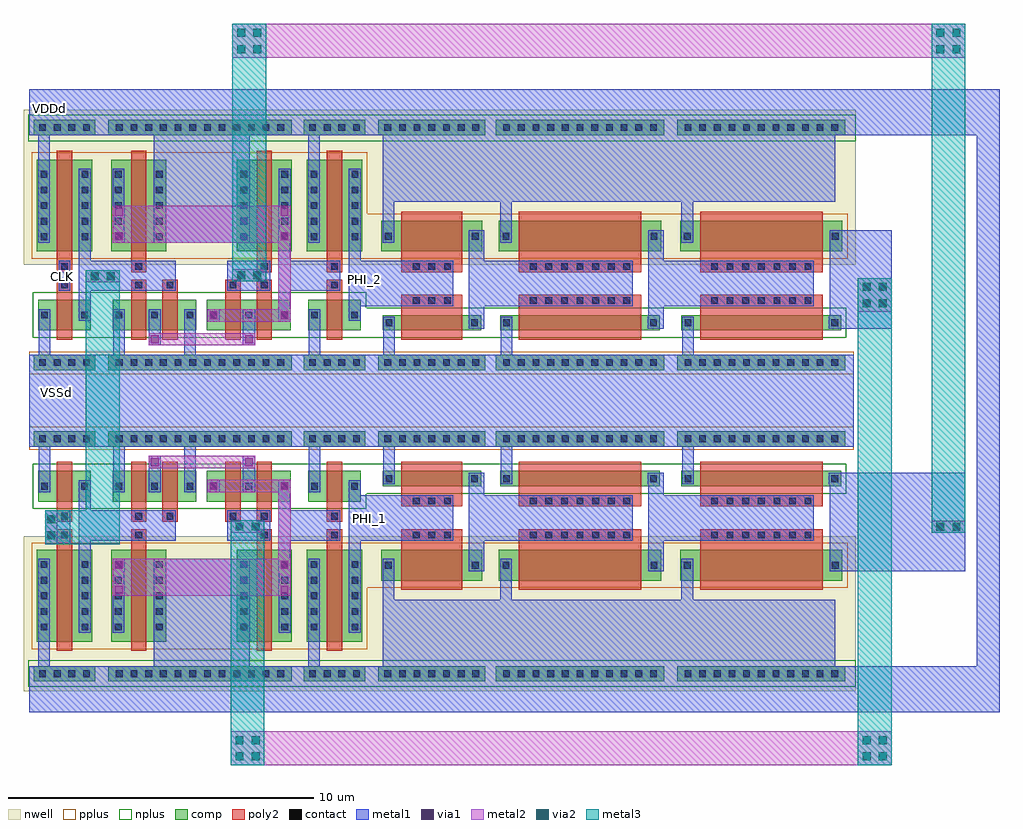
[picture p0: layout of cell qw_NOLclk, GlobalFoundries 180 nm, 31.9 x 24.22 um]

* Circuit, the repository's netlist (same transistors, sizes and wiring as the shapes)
** sch_path: /foss/designs/libs/core_analog/qw_NOLclk/qw_NOLclk.sch
.subckt qw_NOLclk PHI_2 CLK VDDd PHI_1 VSSd
*.PININFO CLK:I PHI_2:O VDDd:B VSSd:B PHI_1:O
* noconn VDDd
* noconn VSSd
x4 VDDd PHI_2 net1 VSSd SmallW_Linv
x7 VDDd PHI_1 net2 VSSd SmallW_Linv
x12 VDDd net3 OUT_top_d VSSd SmallW_Linv_2
x14 VDDd net4 OUT_bot_d VSSd SmallW_Linv_2
x5 VDDd net1 net3 VSSd SmallW_Linv_2
x8 VDDd net2 net4 VSSd SmallW_Linv_2
x9 CLK VDDd CLKB VSSd inv1u05u
x2 CLKB VDDd CLKbuf VSSd inv1u05u
x10 VDDd OUT_top OUT_bot_d CLKB VSSd asc_NAND
x1 VDDd OUT_bot OUT_top_d CLKbuf VSSd asc_NAND
x3 OUT_top VDDd PHI_2 VSSd inv1u05u
x6 OUT_bot VDDd PHI_1 VSSd inv1u05u
.ends

* expanding   symbol:  libs/qw_core_analog/SmallW_Linv/SmallW_Linv.sym # of pins=4
** sym_path: /foss/designs/libs/qw_core_analog/SmallW_Linv/SmallW_Linv.sym
** sch_path: /foss/designs/libs/qw_core_analog/SmallW_Linv/SmallW_Linv.sch
.subckt SmallW_Linv vdd in out vss
*.PININFO in:B out:B vdd:B vss:B
M1 out in vss vss nfet_03v3 L=2u W=0.5u nf=1 m=1
M2 out in vdd vdd pfet_03v3 L=2u W=1u nf=1 m=1
.ends


* expanding   symbol:  libs/qw_core_analog/SmallW_Linv_2/SmallW_Linv_2.sym # of pins=4
** sym_path: /foss/designs/libs/qw_core_analog/SmallW_Linv_2/SmallW_Linv_2.sym
** sch_path: /foss/designs/libs/qw_core_analog/SmallW_Linv_2/SmallW_Linv_2.sch
.subckt SmallW_Linv_2 vdd in out vss
*.PININFO in:B out:B vdd:B vss:B
M1 out in vss vss nfet_03v3 L=4u W=0.5u nf=1 m=1
M2 out in vdd vdd pfet_03v3 L=4u W=1u nf=1 m=1
.ends


* expanding   symbol:  libs/core_analog/inv1u05u/inv1u05u.sym # of pins=4
** sym_path: /foss/designs/libs/core_analog/inv1u05u/inv1u05u.sym
** sch_path: /foss/designs/libs/core_analog/inv1u05u/inv1u05u.sch
.subckt inv1u05u in vdd out vss
*.PININFO in:B out:B vss:B vdd:B
M1 out in vdd vdd pfet_03v3 L=0.5u W=3.0u nf=1 m=1
M2 out in vss vss nfet_03v3 L=0.5u W=1.0u nf=1 m=1
.ends


* expanding   symbol:  libs/core_analog/asc_NAND/asc_NAND.sym # of pins=5
** sym_path: /foss/designs/libs/core_analog/asc_NAND/asc_NAND.sym
** sch_path: /foss/designs/libs/core_analog/asc_NAND/asc_NAND.sch
.subckt asc_NAND VDD OUT A B VSS
*.PININFO VDD:B VSS:B B:B A:B OUT:B
M1 OUT A net1 VSS nfet_03v3 L=0.5u W=2u nf=2 m=1
M2 OUT A VDD VDD pfet_03v3 L=0.5u W=3u nf=1 m=1
M3 net1 B VSS VSS nfet_03v3 L=0.5u W=2u nf=2 m=1
M4 OUT B VDD VDD pfet_03v3 L=0.5u W=3u nf=1 m=1
.ends

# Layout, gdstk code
from math import pi, radians
import gdstk
lib = gdstk.Library(unit=1e-6, precision=5e-09)
def R(c, l, rs):  # rectangles x0, y0, x1, y1
    for r in rs: c.add(gdstk.rectangle(r[:2], r[2:], *l))
def A(c, l, x, y, w, h, nx, ny, dx, dy):  # array of equal rectangles
    R(c, l, [(x+i*dx, y+j*dy, x+i*dx+w, y+j*dy+h) for i in range(nx) for j in range(ny)])
nwell = (21, 0)
comp = (22, 0)
poly2 = (30, 0)
pplus = (31, 0)
nplus = (32, 0)
contact = (33, 0)
metal1 = (34, 0)
via1 = (35, 0)
metal2 = (36, 0)
via2 = (38, 0)
metal3 = (42, 0)

via_dev_2 = lib.new_cell('via_dev$2')
R(via_dev_2, metal1, [(0,0,0.4,0.4)])
R(via_dev_2, via1, [(0.07,0.07,0.33,0.33)])
R(via_dev_2, metal2, [(0,0,0.4,0.4)])

via_dev = lib.new_cell('via_dev')
R(via_dev, comp, [(0,0,2,0.5)])
A(via_dev, contact, 0.17, 0.14, 0.22, 0.22, 4, 1, 0.48, 0)
R(via_dev, metal1, [(0,0,2,0.5)])

via_dev_6 = lib.new_cell('via_dev$6')
R(via_dev_6, comp, [(0,0,3.5,0.5)])
A(via_dev_6, contact, 0.2, 0.14, 0.22, 0.22, 7, 1, 0.48, 0)
R(via_dev_6, metal1, [(0,0,3.5,0.5)])

nfet_3 = lib.new_cell('nfet$3')
R(nfet_3, comp, [(-0.42,0,0,0.5), (0,0,2.38,0.5), (2.38,0,2.8,0.5)])
R(nfet_3, poly2, [(0.19,-0.3,2.19,0.8), (0.19,0.8,2.19,1.16)])
R(nfet_3, nplus, [(-0.59,-0.24,2.97,0.74)])
A(nfet_3, contact, 0.57, 0.87, 0.22, 0.22, 3, 1, 0.51, 0)
R(nfet_3, contact, [(-0.32,0.14,-0.1,0.36), (2.48,0.14,2.7,0.36)])
R(nfet_3, metal1, [(-0.4,0.06,-0.02,0.44), (2.4,0.06,2.78,0.44), (0.49,0.79,1.89,1.17)])

via_dev_11 = lib.new_cell('via_dev$11')
R(via_dev_11, metal1, [(0,0,1.1,0.4)])
R(via_dev_11, via1, [(0.155,0.07,0.415,0.33), (0.685,0.07,0.945,0.33)])
R(via_dev_11, metal2, [(0,0,1.1,0.4)])
R(via_dev_11, via2, [(0.155,0.07,0.415,0.33), (0.685,0.07,0.945,0.33)])
R(via_dev_11, metal3, [(0,0,1.1,0.4)])

pfet_3 = lib.new_cell('pfet$3')
R(pfet_3, nwell, [(-0.9,-0.44,3.28,1.44)])
R(pfet_3, comp, [(-0.46,0,0,1), (0,0,2.38,1), (2.38,0,2.84,1)])
R(pfet_3, poly2, [(0.19,-0.68,2.19,-0.3), (0.19,-0.3,2.19,1.3)])
R(pfet_3, pplus, [(-0.63,-0.24,3.01,1.24)])
A(pfet_3, contact, 0.57, -0.6, 0.22, 0.22, 3, 1, 0.51, 0)
R(pfet_3, contact, [(-0.34,0.39,-0.12,0.61), (2.5,0.39,2.72,0.61)])
R(pfet_3, metal1, [(0.49,-0.68,1.89,-0.3), (-0.42,0.31,-0.04,0.69), (2.42,0.31,2.8,0.69)])

pfet_2 = lib.new_cell('pfet$2')
R(pfet_2, nwell, [(-0.9,-0.44,5.28,1.44)])
R(pfet_2, comp, [(-0.46,0,0,1), (0,0,4.38,1), (4.38,0,4.84,1)])
R(pfet_2, poly2, [(0.19,-0.68,4.19,-0.3), (0.19,-0.3,4.19,1.3)])
R(pfet_2, pplus, [(-0.63,-0.24,5.01,1.24)])
A(pfet_2, contact, 0.55, -0.6, 0.22, 0.22, 7, 1, 0.51, 0)
R(pfet_2, contact, [(-0.34,0.39,-0.12,0.61), (4.5,0.39,4.72,0.61)])
R(pfet_2, metal1, [(0.47,-0.68,3.91,-0.3), (-0.42,0.31,-0.04,0.69), (4.42,0.31,4.8,0.69)])

nfet_2 = lib.new_cell('nfet$2')
R(nfet_2, comp, [(-0.42,0,0,0.5), (0,0,4.38,0.5), (4.38,0,4.8,0.5)])
R(nfet_2, poly2, [(0.19,-0.3,4.19,0.8), (0.19,0.8,4.19,1.16)])
R(nfet_2, nplus, [(-0.59,-0.24,4.97,0.74)])
A(nfet_2, contact, 0.55, 0.87, 0.22, 0.22, 7, 1, 0.51, 0)
R(nfet_2, contact, [(-0.32,0.14,-0.1,0.36), (4.48,0.14,4.7,0.36)])
R(nfet_2, metal1, [(-0.4,0.06,-0.02,0.44), (4.4,0.06,4.78,0.44), (0.47,0.79,3.91,1.17)])

via_dev_8 = lib.new_cell('via_dev$8')
R(via_dev_8, comp, [(0,0,5.5,0.5)])
A(via_dev_8, contact, 0.24, 0.14, 0.22, 0.22, 11, 1, 0.48, 0)
R(via_dev_8, metal1, [(0,0,5.5,0.5)])

nfet = lib.new_cell('nfet')
R(nfet, comp, [(-0.42,0,0,1), (0,0,0.88,1), (0.88,0,1.3,1)])
R(nfet, poly2, [(0.19,-0.3,0.69,1.3), (0.19,1.3,0.69,1.66)])
R(nfet, nplus, [(-0.59,-0.24,1.47,1.24)])
R(nfet, contact, [(-0.32,0.39,-0.1,0.61), (0.98,0.39,1.2,0.61), (0.33,1.37,0.55,1.59)])
R(nfet, metal1, [(-0.4,0.31,-0.02,0.69), (0.9,0.31,1.28,0.69), (0.25,1.29,0.63,1.67)])

pfet = lib.new_cell('pfet')
R(pfet, nwell, [(-0.9,-0.44,1.78,3.44)])
R(pfet, comp, [(-0.46,0,0,3), (0,0,0.88,3), (0.88,0,1.34,3)])
R(pfet, poly2, [(0.19,-0.68,0.69,-0.3), (0.19,-0.3,0.69,3.3)])
R(pfet, pplus, [(-0.63,-0.24,1.51,3.24)])
A(pfet, contact, -0.34, 0.37, 0.22, 0.22, 1, 5, 0, 0.51)
A(pfet, contact, 1, 0.37, 0.22, 0.22, 1, 5, 0, 0.51)
R(pfet, contact, [(0.33,-0.6,0.55,-0.38)])
R(pfet, metal1, [(0.25,-0.68,0.63,-0.3), (-0.42,0.29,-0.04,2.71), (0.92,0.29,1.3,2.71)])

via_dev_3 = lib.new_cell('via_dev$3')
R(via_dev_3, comp, [(0,0,6,0.5)])
A(via_dev_3, contact, 0.25, 0.14, 0.22, 0.22, 12, 1, 0.48, 0)
R(via_dev_3, metal1, [(0,0,6,0.5)])

pfet_1 = lib.new_cell('pfet$1')
R(pfet_1, nwell, [(-0.9,-0.44,1.78,3.44)])
R(pfet_1, comp, [(-0.46,0,0,3), (0,0,0.88,3), (0.88,0,1.34,3)])
R(pfet_1, poly2, [(0.19,-0.68,0.69,-0.3), (0.19,-0.3,0.69,3.3)])
R(pfet_1, pplus, [(-0.63,-0.24,1.51,3.24)])
A(pfet_1, contact, -0.34, 0.37, 0.22, 0.22, 1, 5, 0, 0.51)
A(pfet_1, contact, 1, 0.37, 0.22, 0.22, 1, 5, 0, 0.51)
R(pfet_1, contact, [(0.33,-0.6,0.55,-0.38)])
R(pfet_1, metal1, [(0.25,-0.68,0.63,-0.3), (-0.42,0.29,-0.04,2.71), (0.92,0.29,1.3,2.71)])

nfet_1 = lib.new_cell('nfet$1')
R(nfet_1, comp, [(-0.42,0,0,1), (0,0,1.9,1), (1.9,0,2.32,1)])
R(nfet_1, poly2, [(0.19,-0.3,0.69,1.3), (1.21,-0.3,1.71,1.3), (0.19,1.3,0.69,1.66), (1.21,1.3,1.71,1.66)])
R(nfet_1, nplus, [(-0.59,-0.24,2.49,1.24)])
A(nfet_1, contact, -0.32, 0.39, 0.22, 0.22, 3, 1, 1.16, 0)
R(nfet_1, contact, [(0.33,1.37,0.55,1.59), (1.35,1.37,1.57,1.59)])
A(nfet_1, metal1, -0.4, 0.31, 0.38, 0.38, 3, 1, 1.16, 0)
R(nfet_1, metal1, [(0.25,1.29,0.63,1.67), (1.27,1.29,1.65,1.67)])

via_dev_9 = lib.new_cell('via_dev$9')
R(via_dev_9, metal1, [(0,0,1.1,1.1)])
R(via_dev_9, via1, [(0.155,0.155,0.415,0.415), (0.685,0.155,0.945,0.415), (0.155,0.685,0.415,0.945), (0.685,0.685,0.945,0.945)])
R(via_dev_9, metal2, [(0,0,1.1,1.1)])
R(via_dev_9, via2, [(0.155,0.155,0.415,0.415), (0.685,0.155,0.945,0.415), (0.155,0.685,0.415,0.945), (0.685,0.685,0.945,0.945)])
R(via_dev_9, metal3, [(0,0,1.1,1.1)])

via_dev_10 = lib.new_cell('via_dev$10')
R(via_dev_10, metal2, [(0,0,1.1,1.1)])
R(via_dev_10, via2, [(0.155,0.155,0.415,0.415), (0.685,0.155,0.945,0.415), (0.155,0.685,0.415,0.945), (0.685,0.685,0.945,0.945)])
R(via_dev_10, metal3, [(0,0,1.1,1.1)])

qw_nolclk = lib.new_cell('qw_NOLclk')
R(qw_nolclk, nwell, [(55.095,-2.77,57.775,-1.585), (57.525,-2.77,64.305,-1.585), (63.92,-2.77,66.6,-1.585), (66.35,-2.77,70.585,-1.585), (70.195,-2.77,76.375,-1.585), (76.12,-2.77,82.3,-1.585), (60.205,-1.585,61.625,2.295), (66.35,-1.585,70.585,0.415), (70.195,-1.585,76.375,0.415), (76.12,-1.585,82.3,0.415), (60.205,11.17,61.625,15.05), (66.35,13.05,70.585,15.05), (70.195,13.05,76.375,15.05), (76.12,13.05,82.3,15.05), (55.095,15.05,57.775,16.235), (57.525,15.05,64.305,16.235), (63.92,15.05,66.6,16.235), (66.35,15.05,70.585,16.235), (70.195,15.05,76.375,16.235), (76.12,15.05,82.3,16.235)])
R(qw_nolclk, pplus, [(57.505,-1.385,57.795,2.095), (59.935,-1.385,61.895,2.095), (64.035,-1.385,64.19,2.095), (66.33,0.615,66.62,2.095), (70.26,0.615,70.465,2.095), (76.105,0.615,76.39,2.095), (55.285,5.125,57.72,5.875), (64.11,5.125,66.545,5.875), (66.54,5.125,70.385,5.875), (70.385,5.125,76.31,5.875), (76.31,5.125,82.235,5.875), (55.285,7.59,57.72,8.34), (64.11,7.59,66.545,8.34), (66.54,7.59,70.385,8.34), (70.385,7.59,76.31,8.34), (76.31,7.59,82.235,8.34), (57.505,11.37,57.795,14.85), (59.935,11.37,61.895,14.85), (64.035,11.37,64.19,14.85), (66.33,11.37,66.62,12.85), (70.26,11.37,70.465,12.85), (76.105,11.37,76.39,12.85)])
R(qw_nolclk, nplus, [(55.25,-2.61,57.635,-1.745), (57.635,-2.61,57.68,-1.745), (57.68,-2.61,64.15,-1.745), (64.075,-2.61,66.46,-1.745), (66.46,-2.61,66.505,-1.745), (66.505,-2.61,70.585,-1.745), (70.35,-2.61,76.375,-1.745), (76.275,-2.61,82.3,-1.745), (57.465,3.195,57.835,4.675), (63.995,3.195,64.23,4.675), (66.29,3.695,66.66,4.675), (70.22,3.695,70.505,4.675), (76.065,3.695,76.43,4.675), (57.465,8.79,57.835,10.27), (63.995,8.79,64.23,10.27), (66.29,8.79,66.66,9.77), (70.22,8.79,70.505,9.77), (76.065,8.79,76.43,9.77), (55.25,15.21,57.635,16.075), (57.635,15.21,57.68,16.075), (57.68,15.21,64.15,16.075), (64.075,15.21,66.46,16.075), (66.46,15.21,66.505,16.075), (66.505,15.21,70.585,16.075), (70.35,15.21,76.375,16.075), (76.275,15.21,82.3,16.075)])
R(qw_nolclk, metal1, [(55.285,-3.445,57.635,-1.945), (57.635,-3.445,57.715,-1.945), (57.715,-3.445,64.055,-1.945), (64.055,-3.445,64.11,-1.945), (64.11,-3.445,66.46,-1.945), (66.46,-3.445,66.505,-1.945), (66.505,-3.445,70.585,-1.945), (70.35,-3.445,76.375,-1.945), (76.275,-3.445,86.575,-1.945), (86.25,-3.445,86.995,16.91), (55.285,-2.445,55.435,-1.945), (55.575,-2.445,55.955,1.565), (57.715,-2.445,57.865,-1.945), (63.865,-2.445,64.055,-1.945), (64.11,-2.445,64.26,-1.945), (64.4,-2.445,64.78,1.565), (66.54,-2.445,66.69,-1.945), (66.83,-2.445,67.21,1.565), (70.385,-2.445,70.535,-1.945), (70.675,-2.445,71.055,1.565), (76.31,-2.445,76.46,-1.945), (76.6,-2.445,76.98,1.565), (59.345,-1.945,62.485,1.565), (67.21,-1.945,70.675,0.225), (71.055,-1.945,76.6,0.225), (76.98,-1.945,81.625,0.225), (56.895,-0.855,57.295,4.125), (65.72,-0.855,66.12,4.125), (69.65,1.165,70.15,4.375), (75.515,1.165,76.015,4.375), (81.44,1.165,85.875,4.375), (63.425,1.565,63.82,3.745), (55.805,2.045,56.625,3.145), (56.245,2.155,56.625,3.145), (56.895,2.155,60.075,3.145), (58.675,2.155,59.055,3.145), (61.755,2.155,62.775,2.765), (62.775,2.155,63.155,3.145), (63.425,2.155,65.45,3.145), (65.07,2.155,65.45,3.145), (65.72,2.155,69.14,3.645), (69.65,2.155,75.005,3.645), (75.515,2.155,80.93,3.645), (58.675,2.765,60.075,3.145), (61.755,2.765,63.155,3.145), (55.595,3.745,55.975,5.735), (58.025,3.745,58.405,5.735), (59.185,3.745,59.585,4.925), (60.345,3.745,60.725,5.735), (62.265,3.745,62.665,4.925), (64.42,3.745,64.8,5.735), (66.85,3.995,67.23,5.735), (70.695,3.995,71.075,5.735), (76.62,3.995,77,5.735), (55.285,5.235,57.715,6.735), (55.285,5.235,55.435,5.735), (57.715,5.235,64.11,6.735), (57.715,5.235,57.865,5.735), (63.865,5.235,64.11,5.735), (64.11,5.235,66.54,6.735), (64.11,5.235,64.26,5.735), (66.54,5.235,70.385,6.735), (66.54,5.235,66.69,5.735), (70.385,5.235,76.31,6.735), (70.385,5.235,70.535,5.735), (76.31,5.235,82.235,6.735), (76.31,5.235,76.46,5.735), (55.285,6.73,57.715,8.23), (57.715,6.73,64.11,8.23), (64.11,6.73,66.54,8.23), (66.54,6.73,70.385,8.23), (70.385,6.73,76.31,8.23), (76.31,6.73,82.235,8.23), (55.285,7.73,55.435,8.23), (55.595,7.73,55.975,9.72), (57.715,7.73,57.865,8.23), (58.025,7.73,58.405,9.72), (60.345,7.73,60.725,9.72), (63.865,7.73,64.11,8.23), (64.11,7.73,64.26,8.23), (64.42,7.73,64.8,9.72), (66.54,7.73,66.69,8.23), (66.85,7.73,67.23,9.47), (70.385,7.73,70.535,8.23), (70.695,7.73,71.075,9.47), (76.31,7.73,76.46,8.23), (76.62,7.73,77,9.47), (59.185,8.54,59.585,9.72), (62.265,8.54,62.665,9.72), (69.65,9.09,70.15,12.3), (75.515,9.09,76.015,12.3), (81.44,9.09,83.47,12.3), (56.895,9.34,57.295,14.32), (65.72,9.34,66.12,14.32), (63.425,9.72,63.82,11.9), (65.72,9.82,69.14,11.31), (69.65,9.82,75.005,11.31), (75.515,9.82,80.93,11.31), (56.245,10.32,56.625,11.31), (56.895,10.32,60.075,11.31), (58.675,10.32,59.055,11.31), (58.675,10.32,60.075,10.7), (61.755,10.32,63.155,10.7), (62.775,10.32,63.155,11.31), (63.425,10.32,65.45,11.31), (65.07,10.32,65.45,11.31), (61.755,10.7,62.775,11.31), (55.575,11.9,55.955,15.91), (59.345,11.9,62.485,15.41), (64.4,11.9,64.78,15.91), (66.83,11.9,67.21,15.91), (70.675,11.9,71.055,15.91), (76.6,11.9,76.98,15.91), (67.21,13.24,70.675,15.41), (71.055,13.24,76.6,15.41), (76.98,13.24,81.625,15.41), (55.285,15.41,55.435,15.91), (55.285,15.41,57.635,16.91), (57.635,15.41,57.715,16.91), (57.715,15.41,57.865,15.91), (57.715,15.41,64.055,16.91), (63.865,15.41,64.055,15.91), (64.055,15.41,64.11,16.91), (64.11,15.41,64.26,15.91), (64.11,15.41,66.46,16.91), (66.46,15.41,66.505,16.91), (66.505,15.41,70.585,16.91), (66.54,15.41,66.69,15.91), (70.35,15.41,76.375,16.91), (70.385,15.41,70.535,15.91), (76.275,15.41,86.575,16.91), (76.31,15.41,76.46,15.91)])
R(qw_nolclk, metal2, [(61.87,-5.175,83.47,-4.075), (58.005,0.355,58.405,1.565), (58.005,0.355,63.825,1.565), (63.425,0.355,63.825,4.145), (61.105,3.745,63.825,4.145), (59.185,4.525,62.665,4.925), (59.185,8.54,62.665,8.94), (61.105,9.32,63.825,9.72), (63.425,9.32,63.825,13.11), (58.005,11.9,58.405,13.11), (58.005,11.9,63.825,13.11), (61.925,17.94,85.875,19.045)])
R(qw_nolclk, metal3, [(61.87,-5.175,62.97,2.82), (82.37,-5.175,83.47,10.735), (55.805,2.045,58.235,3.145), (57.135,2.045,58.235,11), (84.775,2.41,85.875,19.045), (61.925,10.635,63.025,19.045)])
qw_nolclk.add(gdstk.FlexPath([(57.715,7.965),(64.11,7.965)], 0.75, ends="flush", simple_path=True, layer=31, datatype=0))  # pplus
qw_nolclk.add(gdstk.FlexPath([(57.715,5.5),(64.11,5.5)], 0.75, ends="flush", simple_path=True, layer=31, datatype=0))  # pplus
qw_nolclk.add(gdstk.Reference(via_dev_2, (58.005,12.71)))
qw_nolclk.add(gdstk.Reference(via_dev, (64.26,15.41)))
qw_nolclk.add(gdstk.Reference(via_dev_6, (66.69,15.41)))
qw_nolclk.add(gdstk.Reference(via_dev, (55.435,-1.945), x_reflection=True))
qw_nolclk.add(gdstk.Reference(via_dev_6, (66.69,7.73)))
qw_nolclk.add(gdstk.Reference(nfet_3, (67.25,9.03)))
qw_nolclk.add(gdstk.Reference(via_dev_11, (55.805,2.045), rotation=pi/2, x_reflection=True))
qw_nolclk.add(gdstk.Reference(pfet_3, (67.25,11.61)))
qw_nolclk.add(gdstk.Reference(pfet_2, (71.095,11.61)))
qw_nolclk.add(gdstk.Reference(via_dev_11, (58.235,10.6), rotation=pi, x_reflection=True))
qw_nolclk.add(gdstk.Reference(nfet_2, (71.095,9.03)))
qw_nolclk.add(gdstk.Reference(via_dev_8, (70.535,7.73)))
qw_nolclk.add(gdstk.Reference(via_dev_8, (70.535,15.41)))
qw_nolclk.add(gdstk.Reference(pfet_2, (77.02,11.61)))
qw_nolclk.add(gdstk.Reference(nfet_2, (77.02,9.03)))
qw_nolclk.add(gdstk.Reference(via_dev_8, (76.46,7.73)))
qw_nolclk.add(gdstk.Reference(via_dev_8, (76.46,15.41)))
qw_nolclk.add(gdstk.Reference(via_dev_2, (58.005,0.755), x_reflection=True))
qw_nolclk.add(gdstk.Reference(via_dev, (64.26,-1.945), x_reflection=True))
qw_nolclk.add(gdstk.Reference(via_dev_6, (66.69,-1.945), x_reflection=True))
qw_nolclk.add(gdstk.Reference(via_dev_6, (66.69,5.735), x_reflection=True))
qw_nolclk.add(gdstk.Reference(nfet_3, (67.25,4.435), x_reflection=True))
qw_nolclk.add(gdstk.Reference(pfet_3, (67.25,1.855), x_reflection=True))
qw_nolclk.add(gdstk.Reference(pfet_2, (71.095,1.855), x_reflection=True))
qw_nolclk.add(gdstk.Reference(nfet_2, (71.095,4.435), x_reflection=True))
qw_nolclk.add(gdstk.Reference(via_dev_8, (70.535,5.735), x_reflection=True))
qw_nolclk.add(gdstk.Reference(via_dev_8, (70.535,-1.945), x_reflection=True))
qw_nolclk.add(gdstk.Reference(pfet_2, (77.02,1.855), x_reflection=True))
qw_nolclk.add(gdstk.Reference(nfet_2, (77.02,4.435), x_reflection=True))
qw_nolclk.add(gdstk.Reference(via_dev_8, (76.46,5.735), x_reflection=True))
qw_nolclk.add(gdstk.Reference(via_dev_8, (76.46,-1.945), x_reflection=True))
qw_nolclk.add(gdstk.Reference(via_dev, (55.435,15.41)))
qw_nolclk.add(gdstk.Reference(via_dev, (55.435,7.73)))
qw_nolclk.add(gdstk.Reference(nfet, (55.995,9.03)))
qw_nolclk.add(gdstk.Reference(pfet, (55.995,11.61)))
qw_nolclk.add(gdstk.Reference(via_dev_2, (58.005,11.9)))
qw_nolclk.add(gdstk.Reference(via_dev_2, (62.265,8.54)))
qw_nolclk.add(gdstk.Reference(via_dev_2, (63.425,12.71)))
qw_nolclk.add(gdstk.Reference(via_dev_2, (63.425,11.9)))
qw_nolclk.add(gdstk.Reference(via_dev_3, (57.865,15.41)))
qw_nolclk.add(gdstk.Reference(via_dev_3, (57.865,7.73)))
qw_nolclk.add(gdstk.Reference(pfet_1, (62.525,11.61)))
qw_nolclk.add(gdstk.Reference(via_dev_2, (63.425,9.32)))
qw_nolclk.add(gdstk.Reference(via_dev_2, (61.105,9.32)))
qw_nolclk.add(gdstk.Reference(via_dev_2, (59.185,8.54)))
qw_nolclk.add(gdstk.Reference(nfet_1, (58.425,9.03)))
qw_nolclk.add(gdstk.Reference(nfet_1, (61.505,9.03)))
qw_nolclk.add(gdstk.Reference(pfet_1, (58.425,11.61)))
qw_nolclk.add(gdstk.Reference(via_dev, (64.26,7.73)))
qw_nolclk.add(gdstk.Reference(nfet, (64.82,9.03)))
qw_nolclk.add(gdstk.Reference(pfet, (64.82,11.61)))
qw_nolclk.add(gdstk.Reference(via_dev, (55.435,5.735), x_reflection=True))
qw_nolclk.add(gdstk.Reference(nfet, (55.995,4.435), x_reflection=True))
qw_nolclk.add(gdstk.Reference(pfet, (55.995,1.855), x_reflection=True))
qw_nolclk.add(gdstk.Reference(via_dev_2, (58.005,1.565), x_reflection=True))
qw_nolclk.add(gdstk.Reference(via_dev_2, (62.265,4.925), x_reflection=True))
qw_nolclk.add(gdstk.Reference(via_dev_2, (63.425,0.755), x_reflection=True))
qw_nolclk.add(gdstk.Reference(via_dev_2, (63.425,1.565), x_reflection=True))
qw_nolclk.add(gdstk.Reference(via_dev_3, (57.865,-1.945), x_reflection=True))
qw_nolclk.add(gdstk.Reference(via_dev_3, (57.865,5.735), x_reflection=True))
qw_nolclk.add(gdstk.Reference(pfet_1, (62.525,1.855), x_reflection=True))
qw_nolclk.add(gdstk.Reference(via_dev_2, (63.425,4.145), x_reflection=True))
qw_nolclk.add(gdstk.Reference(via_dev_2, (61.105,4.145), x_reflection=True))
qw_nolclk.add(gdstk.Reference(via_dev_2, (59.185,4.925), x_reflection=True))
qw_nolclk.add(gdstk.Reference(nfet_1, (58.425,4.435), x_reflection=True))
qw_nolclk.add(gdstk.Reference(nfet_1, (61.505,4.435), x_reflection=True))
qw_nolclk.add(gdstk.Reference(pfet_1, (58.425,1.855), x_reflection=True))
qw_nolclk.add(gdstk.Reference(via_dev, (64.26,5.735), x_reflection=True))
qw_nolclk.add(gdstk.Reference(nfet, (64.82,4.435), x_reflection=True))
qw_nolclk.add(gdstk.Reference(pfet, (64.82,1.855), x_reflection=True))
qw_nolclk.add(gdstk.Reference(via_dev_11, (61.87,2.82), x_reflection=True))
qw_nolclk.add(gdstk.Reference(via_dev_9, (82.37,10.735), x_reflection=True))
qw_nolclk.add(gdstk.Reference(via_dev_11, (84.775,2.81), x_reflection=True))
qw_nolclk.add(gdstk.Reference(via_dev_10, (82.37,-4.075), x_reflection=True))
qw_nolclk.add(gdstk.Reference(via_dev_10, (61.87,-4.075), x_reflection=True))
qw_nolclk.add(gdstk.Reference(via_dev_10, (84.775,19.04), x_reflection=True))
qw_nolclk.add(gdstk.Reference(via_dev_11, (61.925,11.035), x_reflection=True))
qw_nolclk.add(gdstk.Reference(via_dev_10, (61.925,19.04), x_reflection=True))
qw_nolclk.add(gdstk.Label('CLK', (56.365,10.805), layer=34, texttype=10))
qw_nolclk.add(gdstk.Label('VDDd', (55.945,16.295), layer=34, texttype=10))
qw_nolclk.add(gdstk.Label('VSSd', (56.18,7), layer=34, texttype=10))
qw_nolclk.add(gdstk.Label('PHI_2', (66.24,10.685), layer=34, texttype=10))
qw_nolclk.add(gdstk.Label('PHI_1', (66.41,2.87), layer=34, texttype=10))

lib.write_gds('qw_NOLclk.gds')
